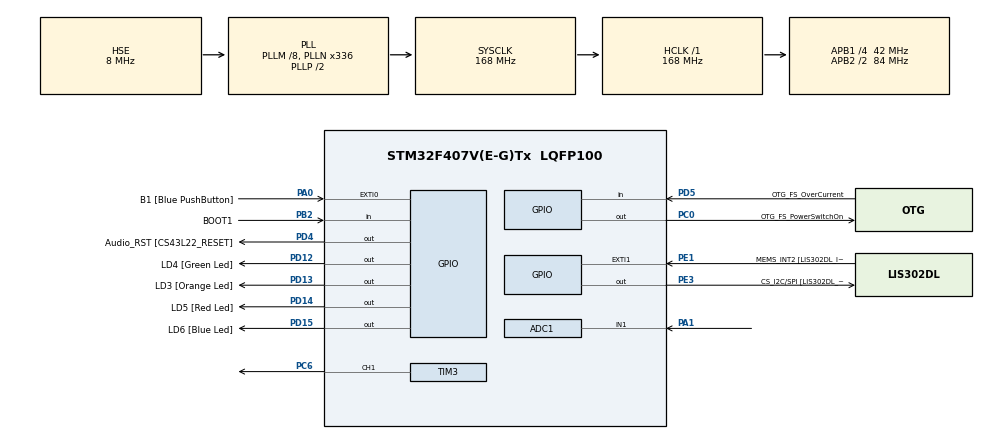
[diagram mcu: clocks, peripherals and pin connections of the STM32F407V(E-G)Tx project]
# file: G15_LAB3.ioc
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ADC1.Channel-0\#ChannelRegularConversion=ADC_CHANNEL_1
ADC1.ClockPrescaler=ADC_CLOCK_SYNC_PCLK_DIV4
ADC1.ContinuousConvMode=DISABLE
ADC1.DMAContinuousRequests=DISABLE
ADC1.DataAlign=ADC_DATAALIGN_RIGHT
ADC1.DiscontinuousConvMode=DISABLE
ADC1.EOCSelection=ADC_EOC_SINGLE_CONV
ADC1.EnableAnalogWatchDog=false
ADC1.ExternalTrigConv=ADC_EXTERNALTRIGCONV_T2_TRGO
ADC1.ExternalTrigConvEdge=ADC_EXTERNALTRIGCONVEDGE_RISING
ADC1.InjNumberOfConversion=0
ADC1.NbrOfConversion=1
ADC1.NbrOfConversionFlag=1
ADC1.Rank-0\#ChannelRegularConversion=1
ADC1.Resolution=ADC_RESOLUTION_8B
ADC1.SamplingTime-0\#ChannelRegularConversion=ADC_SAMPLETIME_3CYCLES
ADC1.ScanConvMode=DISABLE
ADC1.master=1
Mcu.Family=STM32F4
Mcu.Name=STM32F407V(E-G)Tx
Mcu.Package=LQFP100
NVIC.ADC_IRQn=true\:0\:0\:false\:false\:true\:true
NVIC.PriorityGroup=NVIC_PRIORITYGROUP_0
PA0-WKUP.GPIO_Label=B1 [Blue PushButton]
PA0-WKUP.GPIO_ModeDefaultEXTI=GPIO_MODE_EVT_RISING
PA0-WKUP.GPIO_PuPd=GPIO_NOPULL
PA0-WKUP.Signal=GPXTI0
PA1.Signal=ADCx_IN1
PA10.GPIO_Label=OTG_FS_ID
PA10.GPIO_Mode=GPIO_MODE_AF_PP
PA10.GPIO_PuPd=GPIO_NOPULL
PA10.GPIO_Speed=GPIO_SPEED_FREQ_LOW
PA10.Signal=USB_OTG_FS_ID
PA11.GPIO_Label=OTG_FS_DM
PA11.GPIO_Mode=GPIO_MODE_AF_PP
PA11.GPIO_PuPd=GPIO_NOPULL
PA11.GPIO_Speed=GPIO_SPEED_FREQ_LOW
PA11.Signal=USB_OTG_FS_DM
PA12.GPIO_Label=OTG_FS_DP
PA12.GPIO_Mode=GPIO_MODE_AF_PP
PA12.GPIO_PuPd=GPIO_NOPULL
PA12.GPIO_Speed=GPIO_SPEED_FREQ_LOW
PA12.Signal=USB_OTG_FS_DP
PA13.GPIO_Label=SWDIO
PA13.Signal=SYS_JTMS-SWDIO
PA14.GPIO_Label=SWCLK
PA14.Signal=SYS_JTCK-SWCLK
PA4.GPIO_Label=I2S3_WS [CS43L22_LRCK]
PA4.GPIO_Mode=GPIO_MODE_AF_PP
PA4.GPIO_PuPd=GPIO_NOPULL
PA4.GPIO_Speed=GPIO_SPEED_FREQ_LOW
PA4.Signal=I2S3_WS
PA5.GPIO_Label=SPI1_SCK [LIS302DL_SCL/SPC]
PA5.GPIO_Mode=GPIO_MODE_AF_PP
PA5.GPIO_PuPd=GPIO_NOPULL
PA5.GPIO_Speed=GPIO_SPEED_FREQ_LOW
PA5.Signal=SPI1_SCK
PA6.GPIO_Label=SPI1_MISO [LIS302DL_SDO]
PA6.GPIO_Mode=GPIO_MODE_AF_PP
PA6.GPIO_PuPd=GPIO_NOPULL
PA6.GPIO_Speed=GPIO_SPEED_FREQ_LOW
PA6.Signal=SPI1_MISO
PA7.GPIO_Label=SPI1_MOSI [LIS302DL_SDA/SDI/SDO]
PA7.GPIO_Mode=GPIO_MODE_AF_PP
PA7.GPIO_PuPd=GPIO_NOPULL
PA7.GPIO_Speed=GPIO_SPEED_FREQ_LOW
PA7.Signal=SPI1_MOSI
PA9.GPIO_Label=VBUS_FS
PA9.GPIO_Mode=GPIO_MODE_INPUT
PA9.GPIO_PuPd=GPIO_NOPULL
PA9.Signal=USB_OTG_FS_VBUS
PB10.GPIO_Label=CLK_IN [MP45DT02_CLK]
PB10.GPIO_Mode=GPIO_MODE_AF_PP
PB10.GPIO_PuPd=GPIO_NOPULL
PB10.GPIO_Speed=GPIO_SPEED_FREQ_LOW
PB10.Signal=I2S2_CK
PB2.GPIO_Label=BOOT1
PB2.GPIO_Mode=GPIO_MODE_INPUT
PB2.GPIO_PuPd=GPIO_NOPULL
PB2.Signal=GPIO_Input
PB3.GPIO_Label=SWO
PB3.Signal=SYS_JTDO-SWO
PB6.GPIO_Label=Audio_SCL [CS43L22_SCL]
PB6.GPIO_Mode=GPIO_MODE_AF_OD
PB6.GPIO_PuPd=GPIO_NOPULL
PB6.GPIO_Speed=GPIO_SPEED_FREQ_LOW
PB6.Signal=I2C1_SCL
PB9.GPIO_Label=Audio_SDA [CS43L22_SDA]
PB9.GPIO_Mode=GPIO_MODE_AF_OD
PB9.GPIO_PuPd=GPIO_NOPULL
PB9.GPIO_Speed=GPIO_SPEED_FREQ_LOW
PB9.Signal=I2C1_SDA
PC0.GPIO_Label=OTG_FS_PowerSwitchOn
PC0.GPIO_PuPd=GPIO_NOPULL
PC0.GPIO_Speed=GPIO_SPEED_FREQ_LOW
PC0.PinState=GPIO_PIN_SET
PC0.Signal=GPIO_Output
PC10.GPIO_Label=I2S3_SCK [CS43L22_SCLK]
PC10.GPIO_Mode=GPIO_MODE_AF_PP
PC10.GPIO_PuPd=GPIO_NOPULL
PC10.GPIO_Speed=GPIO_SPEED_FREQ_LOW
PC10.Signal=I2S3_CK
PC12.GPIO_Label=I2S3_SD [CS43L22_SDIN]
PC12.GPIO_Mode=GPIO_MODE_AF_PP
PC12.GPIO_PuPd=GPIO_NOPULL
PC12.GPIO_Speed=GPIO_SPEED_FREQ_LOW
PC12.Signal=I2S3_SD
PC14-OSC32_IN.GPIO_Label=PC14-OSC32_IN
PC14-OSC32_IN.Signal=RCC_OSC32_IN
PC15-OSC32_OUT.GPIO_Label=PC15-OSC32_OUT
PC15-OSC32_OUT.Signal=RCC_OSC32_OUT
PC3.GPIO_Label=PDM_OUT [MP45DT02_DOUT]
PC3.GPIO_Mode=GPIO_MODE_AF_PP
PC3.GPIO_PuPd=GPIO_NOPULL
PC3.GPIO_Speed=GPIO_SPEED_FREQ_LOW
PC3.Signal=I2S2_SD
PC6.Signal=S_TIM3_CH1
PC7.GPIO_Label=I2S3_MCK [CS43L22_MCLK]
PC7.GPIO_Mode=GPIO_MODE_AF_PP
PC7.GPIO_PuPd=GPIO_NOPULL
PC7.GPIO_Speed=GPIO_SPEED_FREQ_LOW
PC7.Signal=I2S3_MCK
PD12.GPIO_Label=LD4 [Green Led]
PD12.GPIO_PuPd=GPIO_NOPULL
PD12.GPIO_Speed=GPIO_SPEED_FREQ_LOW
PD12.Signal=GPIO_Output
PD13.GPIO_Label=LD3 [Orange Led]
PD13.GPIO_PuPd=GPIO_NOPULL
PD13.GPIO_Speed=GPIO_SPEED_FREQ_LOW
PD13.Signal=GPIO_Output
PD14.GPIO_Label=LD5 [Red Led]
PD14.GPIO_PuPd=GPIO_NOPULL
PD14.GPIO_Speed=GPIO_SPEED_FREQ_LOW
PD14.Signal=GPIO_Output
PD15.GPIO_Label=LD6 [Blue Led]
PD15.GPIO_PuPd=GPIO_NOPULL
PD15.GPIO_Speed=GPIO_SPEED_FREQ_LOW
PD15.Signal=GPIO_Output
PD4.GPIO_Label=Audio_RST [CS43L22_RESET]
PD4.GPIO_PuPd=GPIO_NOPULL
PD4.GPIO_Speed=GPIO_SPEED_FREQ_LOW
PD4.Signal=GPIO_Output
PD5.GPIO_Label=OTG_FS_OverCurrent
PD5.GPIO_Mode=GPIO_MODE_INPUT
PD5.GPIO_PuPd=GPIO_NOPULL
PD5.Signal=GPIO_Input
PE1.GPIO_Label=MEMS_INT2 [LIS302DL_INT2]
PE1.GPIO_ModeDefaultEXTI=GPIO_MODE_EVT_RISING
PE1.GPIO_PuPd=GPIO_NOPULL
PE1.Signal=GPXTI1
PE3.GPIO_Label=CS_I2C/SPI [LIS302DL_CS_I2C/SPI]
PE3.GPIO_PuPd=GPIO_NOPULL
PE3.GPIO_Speed=GPIO_SPEED_FREQ_LOW
PE3.Signal=GPIO_Output
PH0-OSC_IN.GPIO_Label=PH0-OSC_IN
PH0-OSC_IN.Mode=HSE-External-Oscillator
PH0-OSC_IN.Signal=RCC_OSC_IN
PH1-OSC_OUT.GPIO_Label=PH1-OSC_OUT
PH1-OSC_OUT.Mode=HSE-External-Oscillator
PH1-OSC_OUT.Signal=RCC_OSC_OUT
ProjectManager.HeapSize=0x200
ProjectManager.StackSize=0x400
ProjectManager.TargetToolchain=MDK-ARM V5
RCC.48MHZClocksFreq_Value=48000000
RCC.AHBFreq_Value=168000000
RCC.APB1CLKDivider=RCC_HCLK_DIV4
RCC.APB1Freq_Value=42000000
RCC.APB1TimFreq_Value=84000000
RCC.APB2CLKDivider=RCC_HCLK_DIV2
RCC.APB2Freq_Value=84000000
RCC.APB2TimFreq_Value=168000000
RCC.CortexFreq_Value=168000000
RCC.HCLKFreq_Value=168000000
RCC.HSE_VALUE=8000000
RCC.HSI_VALUE=16000000
RCC.LSE_VALUE=32768
RCC.PLLM=8
RCC.PLLN=336
RCC.PLLQ=7
RCC.PLLSourceVirtual=RCC_PLLSOURCE_HSE
RCC.SYSCLKFreq_VALUE=168000000
RCC.SYSCLKSource=RCC_SYSCLKSOURCE_PLLCLK
RCC.VCOOutputFreq_Value=336000000
SH.ADCx_IN1.0=ADC1_IN1,IN1
SH.S_TIM3_CH1.0=TIM3_CH1,PWM Generation1 CH1
TIM2.Period=10-1
TIM2.Prescaler=420-1
TIM2.TIM_MasterOutputTrigger=TIM_TRGO_UPDATE
TIM3.Channel-PWM\ Generation1\ CH1=TIM_CHANNEL_1
TIM3.Period=50-1
TIM3.Prescaler=420-1
VP_TIM2_VS_ClockSourceINT.Mode=Internal
board=STM32F4DISCOVERY

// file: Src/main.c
/**
  ******************************************************************************
  * File Name          : main.c
  * Description        : Main program body
  ******************************************************************************
  ** This notice applies to any and all portions of this file
  * that are not between comment pairs USER CODE BEGIN and
  * USER CODE END. Other portions of this file, whether
  * inserted by the user or by software development tools
  * are owned by their respective copyright owners.
  *
  * COPYRIGHT(c) 2018 STMicroelectronics
  *
  * Redistribution and use in source and binary forms, with or without modification,
  * are permitted provided that the following conditions are met:
  *   1. Redistributions of source code must retain the above copyright notice,
  *      this list of conditions and the following disclaimer.
  *   2. Redistributions in binary form must reproduce the above copyright notice,
  *      this list of conditions and the following disclaimer in the documentation
  *      and/or other materials provided with the distribution.
  *   3. Neither the name of STMicroelectronics nor the names of its contributors
  *      may be used to endorse or promote products derived from this software
  *      without specific prior written permission.
  *
  * THIS SOFTWARE IS PROVIDED BY THE COPYRIGHT HOLDERS AND CONTRIBUTORS "AS IS"
  * AND ANY EXPRESS OR IMPLIED WARRANTIES, INCLUDING, BUT NOT LIMITED TO, THE
  * IMPLIED WARRANTIES OF MERCHANTABILITY AND FITNESS FOR A PARTICULAR PURPOSE ARE
  * DISCLAIMED. IN NO EVENT SHALL THE COPYRIGHT HOLDER OR CONTRIBUTORS BE LIABLE
  * FOR ANY DIRECT, INDIRECT, INCIDENTAL, SPECIAL, EXEMPLARY, OR CONSEQUENTIAL
  * DAMAGES (INCLUDING, BUT NOT LIMITED TO, PROCUREMENT OF SUBSTITUTE GOODS OR
  * SERVICES; LOSS OF USE, DATA, OR PROFITS; OR BUSINESS INTERRUPTION) HOWEVER
  * CAUSED AND ON ANY THEORY OF LIABILITY, WHETHER IN CONTRACT, STRICT LIABILITY,
  * OR TORT (INCLUDING NEGLIGENCE OR OTHERWISE) ARISING IN ANY WAY OUT OF THE USE
  * OF THIS SOFTWARE, EVEN IF ADVISED OF THE POSSIBILITY OF SUCH DAMAGE.
  *
  ******************************************************************************
  */
#include "main.h"
#include "math.h"
#include <stdlib.h>
#include "keypad.h"
#include "stm32f4xx_hal.h"

/* USER CODE BEGIN Includes */
volatile int adcTimer = 0;
volatile int pushButtonTimer = 0;
volatile int display7segTimer = 0;
volatile int digitToDisplay = 0;
volatile int timeDisplay1DigitTimer = 0;
volatile int pwmUpdateTimer = 0;
/* USER CODE END Includes */

ADC_HandleTypeDef hadc1;

TIM_HandleTypeDef htim2;
TIM_HandleTypeDef htim3;

/* USER CODE BEGIN PV */
/* Private variables ---------------------------------------------------------*/
int x[] = {0, 0, 0, 0, 0};
float b[] = {0.2, 0.2, 0.2, 0.2, 0.2};
int count = 0;
float min_val = 10.0;
float max_val = 0.0;
float rms_counter = 0.0;
//
uint8_t adcRawValue;
float adcFilteredValue = 0.0;
float voltageReading;
//
char keypadInput;											// button pressed by the user
float inputValue = 0.0;
int debounce = 0;												// used to debounced the keypad
int keyLock = 1;												// mutex for keypressed
int systemState = START_STATE;					// State of the state machine
int pwmPhaseValue = 0;
/* USER CODE END PV */

void SystemClock_Config(void);
static void MX_GPIO_Init(void);
static void MX_ADC1_Init(void);
static void MX_TIM2_Init(void);
static void MX_TIM3_Init(void);
void HAL_ADC_ConvCpltCallback(ADC_HandleTypeDef* hadc);
void HAL_TIM_MspPostInit(TIM_HandleTypeDef *htim);
void TM_Delay_Init(void);
void TM_DelayMicros(uint32_t micros);
void TM_DelayMillis(uint32_t millis);

/* USER CODE BEGIN PFP */
/* Private function prototypes -----------------------------------------------*/
void plotPoint(float, float *);
void displayLEDValue(int number, int position);
void display(float value);
int getDigit(float value, int place);
void FIR_C(int input, float *output);
void userPWMSetValue(int value);
/* USER CODE BEGIN PFP */
/* USER CODE END PFP */

int main(void)
{

  /* MCU Configuration----------------------------------------------------------*/

  /* Reset of all peripherals, Initializes the Flash interface and the Systick. */
  HAL_Init();

  /* Configure the system clock */
  SystemClock_Config();
	TM_Delay_Init();

  /* Initialize all configured peripherals */
  MX_GPIO_Init();
  MX_ADC1_Init();
  MX_TIM2_Init();
  MX_TIM3_Init();
	/* Initialize Keypad*/
	Keypad_Config();

  /* USER CODE BEGIN 2 */
	// start TIM3
	HAL_TIM_PWM_Start(&htim3, TIM_CHANNEL_1);

	// Start TIM2 Timer
	HAL_TIM_Base_Start(&htim2);
	// Start ADC
	HAL_ADC_Start_IT(&hadc1);
  /* USER CODE END 2 */

  /* Infinite loop */
  /* USER CODE BEGIN WHILE */
  while (1)
  {
		/*************** START STATE **************************/
		/* start state, just display adc and wait for enter */
		while (systemState == START_STATE) {
			inputValue = 0.0;
			userPWMSetValue(99);
			printf("voltage reading: %f\n", voltageReading);
//			printf("MRS: %f, MIN: %f, MAX: %f\n", results[0], results[1], results[2]);

			/* update the value to be displayed */
			if(display7segTimer >= DISPLAY_7_SEGMENT_PERIOD) {
				display7segTimer = 0;
				display(voltageReading);
			}

			/* read which keypad button is pressed */
			keypadInput = readKeypad();
			if (keypadInput == '#') {
				systemState = INPUT_STATE_1;
			}
		}

		/************* INPUT STATE 1*****************/
		while (systemState == INPUT_STATE_1) {
			/* update the value to be displayed */
			if(display7segTimer >= DISPLAY_7_SEGMENT_PERIOD) {
				display7segTimer = 0;
				display(inputValue);
			}

			/* read input from keypad */
			keypadInput = readKeypad();
			if(keypadInput == '#'){
				systemState = INPUT_STATE_2;
			}
			else if (keypadInput != 'n'  && keypadInput != '*') {
				inputValue = (float)(keypadInput - '0');
//				printf("input value %f", inputValue);
			}
			else if(keypadInput == '*'){
				systemState = START_STATE;
			}
		}

		/************* INPUT STATE 2*****************/
		while (systemState == INPUT_STATE_2) {
			/* update the value to be displayed */
			if(display7segTimer >= DISPLAY_7_SEGMENT_PERIOD) {
				display7segTimer = 0;
				display(inputValue);
			}

			/* read input from keypad */
			keypadInput = readKeypad();
			if(keypadInput == '#'){
				systemState = MEASURE_STATE;
			}
			else if (keypadInput != 'n'  && keypadInput != '*') {
				inputValue = inputValue + (float)(keypadInput - '0') / 10.0;
//				printf("input value %f", inputValue);
			}
			else if(keypadInput == '*'){
				inputValue = roundf (inputValue - ((float)((int)(inputValue*10) % 10) / 10.0));
				systemState = INPUT_STATE_1;
			}
		}

		/************* MEASURE STATE *****************/
		while(systemState == MEASURE_STATE){

			/* update the value to be displayed */
			if(display7segTimer >= DISPLAY_7_SEGMENT_PERIOD) {
				display7segTimer = 0;
				display(voltageReading);
			}

			/* update PWN */
			if(pwmUpdateTimer >= PWM_UPDATE_PERIOD){
				pwmUpdateTimer = 0;
			if(voltageReading < inputValue){
				pwmPhaseValue = pwmPhaseValue + 1;
			}else if(voltageReading > inputValue){
				pwmPhaseValue = pwmPhaseValue - 1;
			}
			userPWMSetValue(pwmPhaseValue);
		}
			/* button holding*/
			int held = 0;
			while (	readKeypadNoDebounce() == '*' && held < 5)
			{
				TM_DelayMillis(1000);// delay 1s
				held++;
			}
			if (held > 2)
			{

				systemState = SLEEP_STATE;
			}
			else if(held > 0)
			{
				 // the button was released in less than 3 seconds
				  systemState = START_STATE;
			}

		}

		while(systemState == SLEEP_STATE)
		{
			// pwn output 0
			userPWMSetValue(0);
			// led off
			HAL_GPIO_WritePin(GPIOE, SEG7_OUT1 , GPIO_PIN_RESET);
			HAL_GPIO_WritePin(GPIOE, SEG7_OUT2 , GPIO_PIN_RESET);
			HAL_GPIO_WritePin(GPIOE, SEG7_OUT3 , GPIO_PIN_RESET);
			HAL_GPIO_WritePin(GPIOE, SEG7_OUT4 , GPIO_PIN_RESET);

			int held = 0;
			while (	readKeypadNoDebounce() == '#' && held < 5)
			{
				TM_DelayMillis(1000);// delay 1s
				held++;
			}
			if (held > 2)
			{
				  // the button was released in longer than 3 seconds
				systemState = START_STATE;
			}
		}

	}
}

/** System Clock Configuration
*/
void SystemClock_Config(void)
{

  RCC_OscInitTypeDef RCC_OscInitStruct;
  RCC_ClkInitTypeDef RCC_ClkInitStruct;

    /**Configure the main internal regulator output voltage
    */
  __HAL_RCC_PWR_CLK_ENABLE();

  __HAL_PWR_VOLTAGESCALING_CONFIG(PWR_REGULATOR_VOLTAGE_SCALE1);

    /**Initializes the CPU, AHB and APB busses clocks
    */
  RCC_OscInitStruct.OscillatorType = RCC_OSCILLATORTYPE_HSE;
  RCC_OscInitStruct.HSEState = RCC_HSE_ON;
  RCC_OscInitStruct.PLL.PLLState = RCC_PLL_ON;
  RCC_OscInitStruct.PLL.PLLSource = RCC_PLLSOURCE_HSE;
  RCC_OscInitStruct.PLL.PLLM = 8;
  RCC_OscInitStruct.PLL.PLLN = 336;
  RCC_OscInitStruct.PLL.PLLP = RCC_PLLP_DIV2;
  RCC_OscInitStruct.PLL.PLLQ = 7;
  if (HAL_RCC_OscConfig(&RCC_OscInitStruct) != HAL_OK)
  {
    _Error_Handler(__FILE__, __LINE__);
  }

    /**Initializes the CPU, AHB and APB busses clocks
    */
  RCC_ClkInitStruct.ClockType = RCC_CLOCKTYPE_HCLK|RCC_CLOCKTYPE_SYSCLK
                              |RCC_CLOCKTYPE_PCLK1|RCC_CLOCKTYPE_PCLK2;
  RCC_ClkInitStruct.SYSCLKSource = RCC_SYSCLKSOURCE_PLLCLK;
  RCC_ClkInitStruct.AHBCLKDivider = RCC_SYSCLK_DIV1;
  RCC_ClkInitStruct.APB1CLKDivider = RCC_HCLK_DIV4;
  RCC_ClkInitStruct.APB2CLKDivider = RCC_HCLK_DIV2;

  if (HAL_RCC_ClockConfig(&RCC_ClkInitStruct, FLASH_LATENCY_5) != HAL_OK)
  {
    _Error_Handler(__FILE__, __LINE__);
  }

     /* Configure SysTick to generate an interrupt every microsecond */
  HAL_SYSTICK_Config(HAL_RCC_GetHCLKFreq()/1000000);
		/*1k*/
	 //HAL_SYSTICK_Config(HAL_RCC_GetHCLKFreq()/1000);

    /**Configure the Systick
    */
  HAL_SYSTICK_CLKSourceConfig(SYSTICK_CLKSOURCE_HCLK);

  /* SysTick_IRQn interrupt configuration */
  HAL_NVIC_SetPriority(SysTick_IRQn, 0, 0);
}

/* ADC1 init function */
static void MX_ADC1_Init(void)
{

  ADC_ChannelConfTypeDef sConfig;

    /**Configure the global features of the ADC (Clock, Resolution, Data Alignment and number of conversion)
    */
  hadc1.Instance = ADC1;
  hadc1.Init.ClockPrescaler = ADC_CLOCK_SYNC_PCLK_DIV4;
  hadc1.Init.Resolution = ADC_RESOLUTION_8B;
  hadc1.Init.ScanConvMode = DISABLE;
  hadc1.Init.ContinuousConvMode = DISABLE;
  hadc1.Init.DiscontinuousConvMode = DISABLE;
  hadc1.Init.ExternalTrigConvEdge = ADC_EXTERNALTRIGCONVEDGE_RISING;
  hadc1.Init.ExternalTrigConv = ADC_EXTERNALTRIGCONV_T2_TRGO;
  hadc1.Init.DataAlign = ADC_DATAALIGN_RIGHT;
  hadc1.Init.NbrOfConversion = 1;
  hadc1.Init.DMAContinuousRequests = DISABLE;
  hadc1.Init.EOCSelection = ADC_EOC_SINGLE_CONV;
  if (HAL_ADC_Init(&hadc1) != HAL_OK)
  {
    _Error_Handler(__FILE__, __LINE__);
  }

    /**Configure for the selected ADC regular channel its corresponding rank in the sequencer and its sample time.
    */
  sConfig.Channel = ADC_CHANNEL_1;
  sConfig.Rank = 1;
  sConfig.SamplingTime = ADC_SAMPLETIME_3CYCLES;
  if (HAL_ADC_ConfigChannel(&hadc1, &sConfig) != HAL_OK)
  {
    _Error_Handler(__FILE__, __LINE__);
  }

}

/* TIM2 init function */
static void MX_TIM2_Init(void)
{

  TIM_ClockConfigTypeDef sClockSourceConfig;
  TIM_MasterConfigTypeDef sMasterConfig;

  htim2.Instance = TIM2;
  htim2.Init.Prescaler = 840-1;
  htim2.Init.CounterMode = TIM_COUNTERMODE_UP;
  htim2.Init.Period = 10-1;
  htim2.Init.ClockDivision = TIM_CLOCKDIVISION_DIV1;
  if (HAL_TIM_Base_Init(&htim2) != HAL_OK)
  {
    _Error_Handler(__FILE__, __LINE__);
  }

  sClockSourceConfig.ClockSource = TIM_CLOCKSOURCE_INTERNAL;
  if (HAL_TIM_ConfigClockSource(&htim2, &sClockSourceConfig) != HAL_OK)
  {
    _Error_Handler(__FILE__, __LINE__);
  }

  sMasterConfig.MasterOutputTrigger = TIM_TRGO_UPDATE;
  sMasterConfig.MasterSlaveMode = TIM_MASTERSLAVEMODE_DISABLE;
  if (HAL_TIMEx_MasterConfigSynchronization(&htim2, &sMasterConfig) != HAL_OK)
  {
    _Error_Handler(__FILE__, __LINE__);
  }

}

/* TIM3 init function */
static void MX_TIM3_Init(void)
{

  TIM_MasterConfigTypeDef sMasterConfig;
  TIM_OC_InitTypeDef sConfigOC;

  htim3.Instance = TIM3;
  htim3.Init.Prescaler = 336-1;
  htim3.Init.CounterMode = TIM_COUNTERMODE_UP;
  htim3.Init.Period = PWM_PERIOD - 1;
  htim3.Init.ClockDivision = TIM_CLOCKDIVISION_DIV1;
  if (HAL_TIM_PWM_Init(&htim3) != HAL_OK)
  {
    _Error_Handler(__FILE__, __LINE__);
  }

  sMasterConfig.MasterOutputTrigger = TIM_TRGO_RESET;
  sMasterConfig.MasterSlaveMode = TIM_MASTERSLAVEMODE_DISABLE;
  if (HAL_TIMEx_MasterConfigSynchronization(&htim3, &sMasterConfig) != HAL_OK)
  {
    _Error_Handler(__FILE__, __LINE__);
  }

  sConfigOC.OCMode = TIM_OCMODE_PWM1;
  sConfigOC.Pulse = 0;
  sConfigOC.OCPolarity = TIM_OCPOLARITY_HIGH;
  sConfigOC.OCFastMode = TIM_OCFAST_DISABLE;
  if (HAL_TIM_PWM_ConfigChannel(&htim3, &sConfigOC, TIM_CHANNEL_1) != HAL_OK)
  {
    _Error_Handler(__FILE__, __LINE__);
  }

  HAL_TIM_MspPostInit(&htim3);

}

/** Configure pins as
        * Analog
        * Input
        * Output
        * EVENT_OUT
        * EXTI
     PC3   ------> I2S2_SD
     PA4   ------> I2S3_WS
     PA5   ------> SPI1_SCK
     PA6   ------> SPI1_MISO
     PA7   ------> SPI1_MOSI
     PB10   ------> I2S2_CK
     PC7   ------> I2S3_MCK
     PA9   ------> USB_OTG_FS_VBUS
     PA10   ------> USB_OTG_FS_ID
     PA11   ------> USB_OTG_FS_DM
     PA12   ------> USB_OTG_FS_DP
     PC10   ------> I2S3_CK
     PC12   ------> I2S3_SD
     PB6   ------> I2C1_SCL
     PB9   ------> I2C1_SDA
*/
static void MX_GPIO_Init(void)
{

  GPIO_InitTypeDef GPIO_InitStruct;

  /* GPIO Ports Clock Enable */
  __HAL_RCC_GPIOE_CLK_ENABLE();
  __HAL_RCC_GPIOC_CLK_ENABLE();
  __HAL_RCC_GPIOH_CLK_ENABLE();
  __HAL_RCC_GPIOA_CLK_ENABLE();
  __HAL_RCC_GPIOB_CLK_ENABLE();
  __HAL_RCC_GPIOD_CLK_ENABLE();

  /*Configure GPIO pin Output Level */
  HAL_GPIO_WritePin(CS_I2C_SPI_GPIO_Port, CS_I2C_SPI_Pin, GPIO_PIN_RESET);

  /*Configure GPIO pin Output Level */
  HAL_GPIO_WritePin(OTG_FS_PowerSwitchOn_GPIO_Port, OTG_FS_PowerSwitchOn_Pin, GPIO_PIN_SET);

  /*Configure GPIO pin Output Level */
  HAL_GPIO_WritePin(GPIOD, LD4_Pin|LD3_Pin|LD5_Pin|LD6_Pin
                          |Audio_RST_Pin, GPIO_PIN_RESET);

  /*Configure GPIO pin : CS_I2C_SPI_Pin */
  GPIO_InitStruct.Pin = CS_I2C_SPI_Pin;
  GPIO_InitStruct.Mode = GPIO_MODE_OUTPUT_PP;
  GPIO_InitStruct.Pull = GPIO_NOPULL;
  GPIO_InitStruct.Speed = GPIO_SPEED_FREQ_LOW;
  HAL_GPIO_Init(CS_I2C_SPI_GPIO_Port, &GPIO_InitStruct);

  /*Configure GPIO pin : OTG_FS_PowerSwitchOn_Pin */
  GPIO_InitStruct.Pin = OTG_FS_PowerSwitchOn_Pin;
  GPIO_InitStruct.Mode = GPIO_MODE_OUTPUT_PP;
  GPIO_InitStruct.Pull = GPIO_NOPULL;
  GPIO_InitStruct.Speed = GPIO_SPEED_FREQ_LOW;
  HAL_GPIO_Init(OTG_FS_PowerSwitchOn_GPIO_Port, &GPIO_InitStruct);

  /*Configure GPIO pin : PDM_OUT_Pin */
  GPIO_InitStruct.Pin = PDM_OUT_Pin;
  GPIO_InitStruct.Mode = GPIO_MODE_AF_PP;
  GPIO_InitStruct.Pull = GPIO_NOPULL;
  GPIO_InitStruct.Speed = GPIO_SPEED_FREQ_LOW;
  GPIO_InitStruct.Alternate = GPIO_AF5_SPI2;
  HAL_GPIO_Init(PDM_OUT_GPIO_Port, &GPIO_InitStruct);

  /*Configure GPIO pin : B1_Pin */
  GPIO_InitStruct.Pin = B1_Pin;
  GPIO_InitStruct.Mode = GPIO_MODE_EVT_RISING;
  GPIO_InitStruct.Pull = GPIO_NOPULL;
  HAL_GPIO_Init(B1_GPIO_Port, &GPIO_InitStruct);

  /*Configure GPIO pin : I2S3_WS_Pin */
  GPIO_InitStruct.Pin = I2S3_WS_Pin;
  GPIO_InitStruct.Mode = GPIO_MODE_AF_PP;
  GPIO_InitStruct.Pull = GPIO_NOPULL;
  GPIO_InitStruct.Speed = GPIO_SPEED_FREQ_LOW;
  GPIO_InitStruct.Alternate = GPIO_AF6_SPI3;
  HAL_GPIO_Init(I2S3_WS_GPIO_Port, &GPIO_InitStruct);

  /*Configure GPIO pins : SPI1_SCK_Pin SPI1_MISO_Pin SPI1_MOSI_Pin */
  GPIO_InitStruct.Pin = SPI1_SCK_Pin|SPI1_MISO_Pin|SPI1_MOSI_Pin;
  GPIO_InitStruct.Mode = GPIO_MODE_AF_PP;
  GPIO_InitStruct.Pull = GPIO_NOPULL;
  GPIO_InitStruct.Speed = GPIO_SPEED_FREQ_LOW;
  GPIO_InitStruct.Alternate = GPIO_AF5_SPI1;
  HAL_GPIO_Init(GPIOA, &GPIO_InitStruct);

  /*Configure GPIO pin : BOOT1_Pin */
  GPIO_InitStruct.Pin = BOOT1_Pin;
  GPIO_InitStruct.Mode = GPIO_MODE_INPUT;
  GPIO_InitStruct.Pull = GPIO_NOPULL;
  HAL_GPIO_Init(BOOT1_GPIO_Port, &GPIO_InitStruct);

  /*Configure GPIO pin : CLK_IN_Pin */
  GPIO_InitStruct.Pin = CLK_IN_Pin;
  GPIO_InitStruct.Mode = GPIO_MODE_AF_PP;
  GPIO_InitStruct.Pull = GPIO_NOPULL;
  GPIO_InitStruct.Speed = GPIO_SPEED_FREQ_LOW;
  GPIO_InitStruct.Alternate = GPIO_AF5_SPI2;
  HAL_GPIO_Init(CLK_IN_GPIO_Port, &GPIO_InitStruct);

  /*Configure GPIO pins : LD4_Pin LD3_Pin LD5_Pin LD6_Pin
                           Audio_RST_Pin */
  GPIO_InitStruct.Pin = LD4_Pin|LD3_Pin|LD5_Pin|LD6_Pin
                          |Audio_RST_Pin;
  GPIO_InitStruct.Mode = GPIO_MODE_OUTPUT_PP;
  GPIO_InitStruct.Pull = GPIO_NOPULL;
  GPIO_InitStruct.Speed = GPIO_SPEED_FREQ_LOW;
  HAL_GPIO_Init(GPIOD, &GPIO_InitStruct);

  /*Configure GPIO pins : I2S3_MCK_Pin I2S3_SCK_Pin I2S3_SD_Pin */
  GPIO_InitStruct.Pin = I2S3_MCK_Pin|I2S3_SCK_Pin|I2S3_SD_Pin;
  GPIO_InitStruct.Mode = GPIO_MODE_AF_PP;
  GPIO_InitStruct.Pull = GPIO_NOPULL;
  GPIO_InitStruct.Speed = GPIO_SPEED_FREQ_LOW;
  GPIO_InitStruct.Alternate = GPIO_AF6_SPI3;
  HAL_GPIO_Init(GPIOC, &GPIO_InitStruct);

  /*Configure GPIO pin : VBUS_FS_Pin */
  GPIO_InitStruct.Pin = VBUS_FS_Pin;
  GPIO_InitStruct.Mode = GPIO_MODE_INPUT;
  GPIO_InitStruct.Pull = GPIO_NOPULL;
  HAL_GPIO_Init(VBUS_FS_GPIO_Port, &GPIO_InitStruct);

  /*Configure GPIO pins : OTG_FS_ID_Pin OTG_FS_DM_Pin OTG_FS_DP_Pin */
  GPIO_InitStruct.Pin = OTG_FS_ID_Pin|OTG_FS_DM_Pin|OTG_FS_DP_Pin;
  GPIO_InitStruct.Mode = GPIO_MODE_AF_PP;
  GPIO_InitStruct.Pull = GPIO_NOPULL;
  GPIO_InitStruct.Speed = GPIO_SPEED_FREQ_LOW;
  GPIO_InitStruct.Alternate = GPIO_AF10_OTG_FS;
  HAL_GPIO_Init(GPIOA, &GPIO_InitStruct);

  /*Configure GPIO pin : OTG_FS_OverCurrent_Pin */
  GPIO_InitStruct.Pin = OTG_FS_OverCurrent_Pin;
  GPIO_InitStruct.Mode = GPIO_MODE_INPUT;
  GPIO_InitStruct.Pull = GPIO_NOPULL;
  HAL_GPIO_Init(OTG_FS_OverCurrent_GPIO_Port, &GPIO_InitStruct);

  /*Configure GPIO pins : Audio_SCL_Pin Audio_SDA_Pin */
  GPIO_InitStruct.Pin = Audio_SCL_Pin|Audio_SDA_Pin;
  GPIO_InitStruct.Mode = GPIO_MODE_AF_OD;
  GPIO_InitStruct.Pull = GPIO_PULLUP;
  GPIO_InitStruct.Speed = GPIO_SPEED_FREQ_LOW;
  GPIO_InitStruct.Alternate = GPIO_AF4_I2C1;
  HAL_GPIO_Init(GPIOB, &GPIO_InitStruct);

  /*Configure GPIO pin : MEMS_INT2_Pin */
  GPIO_InitStruct.Pin = MEMS_INT2_Pin;
  GPIO_InitStruct.Mode = GPIO_MODE_EVT_RISING;
  GPIO_InitStruct.Pull = GPIO_NOPULL;
  HAL_GPIO_Init(MEMS_INT2_GPIO_Port, &GPIO_InitStruct);

	//7-segment display
	GPIO_InitStruct.Pin = SEG7_A | SEG7_B | SEG7_C | SEG7_D | SEG7_E | SEG7_F | SEG7_G | SEG7_DP | SEG7_OUT1 | SEG7_OUT2 | SEG7_OUT3 | SEG7_OUT4 ; 	// initialize the 7-segment display for the LEDs pin
	GPIO_InitStruct.Mode = GPIO_MODE_OUTPUT_PP; //set pins to output push pull mode
	GPIO_InitStruct.Pull = GPIO_NOPULL; // no pull for 7-segment pins
	GPIO_InitStruct.Speed = GPIO_SPEED_FREQ_MEDIUM; //Speed of pin

	HAL_GPIO_Init(GPIOE, &GPIO_InitStruct); // Initiate the pins with the setting from GPIO_INIT
	// when initialize, set all the pins to LOW
	HAL_GPIO_WritePin(GPIOE, SEG7_A | SEG7_B | SEG7_C | SEG7_D | SEG7_E | SEG7_F | SEG7_G | SEG7_DP | SEG7_OUT1 | SEG7_OUT2 | SEG7_OUT3 | SEG7_OUT4, GPIO_PIN_RESET);

}

/**
	* @brief Display float number in seven segment
	* @param float in x.xx format
	* @retval None
	*/
void display(float value) {
		/* change the digit to be viewed slower for the 7-segment slower for better display */
		if (timeDisplay1DigitTimer >= TIME_DISPLAY_1_DIGIT_PERIOD) {
			timeDisplay1DigitTimer = 0;
			digitToDisplay = (digitToDisplay + 1) % 3;
		}
		//display digits from left side, +1 for seven segments digit offset
	displayLEDValue(getDigit(value, digitToDisplay), digitToDisplay + 2);
}

/**
	* @brief Retrive the digits in float number
	* @param value:	x.xx
	* @param place: 2 10
	*/
int getDigit(float value, int place) {
	int tmp = (int) (value * 100);
	switch (place) {
		case 0:
			return (tmp - tmp % 100) / 100;
		case 1:
			return (tmp % 100 - tmp % 10) / 10;
		case 2:
			return tmp % 10;
		default:
			return 0;
	}
}

/**
	* @brief Update PWM pulse value
	* @param value: sConfigOC.Pulse
	*/
void userPWMSetValue(int value)
{
	if(value > PWM_PERIOD){
		value = PWM_PERIOD;
	}
	if(value < 0){
		value = 0;
	}
	TIM_OC_InitTypeDef sConfigOC;

	sConfigOC.OCMode = TIM_OCMODE_PWM1;
	sConfigOC.Pulse = value;
	sConfigOC.OCPolarity = TIM_OCPOLARITY_HIGH;
	sConfigOC.OCFastMode = TIM_OCFAST_DISABLE;
	HAL_TIM_PWM_ConfigChannel(&htim3, &sConfigOC, TIM_CHANNEL_1);
  HAL_TIM_PWM_Start(&htim3, TIM_CHANNEL_1);
}

/**
	* @brief FIR filter
	* @param value: sConfigOC.Pulse
	*/
void FIR_C(int input, float *output) {
	// shifting
	int j;
	for(j = 0; j < 4; ++j){
		x[j] = x[j+1];
	}
	// add new element in the end
	x[4] = input;

	float out = 0.0;
	int i;
	for(i = 0; i < 5; ++i) {
		out += x[i] * b[4 - i];
	}
	*output = out;
}

/**
	* @brief Allow to display the value on a segment display depending on the number and position
	* @param number: number to be displayed
  * @param position: digit of number to be displayed
	*/
void displayLEDValue(int number, int position){
	// set a specific value to set all the segment pins to low
	if (number == -1){
			HAL_GPIO_WritePin(GPIOE, SEG7_A , GPIO_PIN_RESET);
			HAL_GPIO_WritePin(GPIOE, SEG7_B , GPIO_PIN_RESET);
			HAL_GPIO_WritePin(GPIOE, SEG7_C , GPIO_PIN_RESET);
			HAL_GPIO_WritePin(GPIOE, SEG7_D , GPIO_PIN_RESET);
			HAL_GPIO_WritePin(GPIOE, SEG7_E , GPIO_PIN_RESET);
			HAL_GPIO_WritePin(GPIOE, SEG7_F , GPIO_PIN_RESET);
			HAL_GPIO_WritePin(GPIOE, SEG7_G , GPIO_PIN_RESET);
	}

	else if (number == 1){
			HAL_GPIO_WritePin(GPIOE, SEG7_A , GPIO_PIN_RESET);
			HAL_GPIO_WritePin(GPIOE, SEG7_B , GPIO_PIN_SET);
			HAL_GPIO_WritePin(GPIOE, SEG7_C , GPIO_PIN_SET);
			HAL_GPIO_WritePin(GPIOE, SEG7_D , GPIO_PIN_RESET);
			HAL_GPIO_WritePin(GPIOE, SEG7_E , GPIO_PIN_RESET);
			HAL_GPIO_WritePin(GPIOE, SEG7_F , GPIO_PIN_RESET);
			HAL_GPIO_WritePin(GPIOE, SEG7_G , GPIO_PIN_RESET);
	}

	else if (number == 2){
			HAL_GPIO_WritePin(GPIOE, SEG7_A , GPIO_PIN_SET);
			HAL_GPIO_WritePin(GPIOE, SEG7_B , GPIO_PIN_SET);
			HAL_GPIO_WritePin(GPIOE, SEG7_C , GPIO_PIN_RESET);
			HAL_GPIO_WritePin(GPIOE, SEG7_D , GPIO_PIN_SET);
			HAL_GPIO_WritePin(GPIOE, SEG7_E , GPIO_PIN_SET);
			HAL_GPIO_WritePin(GPIOE, SEG7_F , GPIO_PIN_RESET);
			HAL_GPIO_WritePin(GPIOE, SEG7_G , GPIO_PIN_SET);
	}

	else if (number == 3){
			HAL_GPIO_WritePin(GPIOE, SEG7_A , GPIO_PIN_SET);
			HAL_GPIO_WritePin(GPIOE, SEG7_B , GPIO_PIN_SET);
			HAL_GPIO_WritePin(GPIOE, SEG7_C , GPIO_PIN_SET);
			HAL_GPIO_WritePin(GPIOE, SEG7_D , GPIO_PIN_SET);
			HAL_GPIO_WritePin(GPIOE, SEG7_E , GPIO_PIN_RESET);
			HAL_GPIO_WritePin(GPIOE, SEG7_F , GPIO_PIN_RESET);
			HAL_GPIO_WritePin(GPIOE, SEG7_G , GPIO_PIN_SET);
	}

	else if (number == 4){
			HAL_GPIO_WritePin(GPIOE, SEG7_A , GPIO_PIN_RESET);
			HAL_GPIO_WritePin(GPIOE, SEG7_B , GPIO_PIN_SET);
			HAL_GPIO_WritePin(GPIOE, SEG7_C , GPIO_PIN_SET);
			HAL_GPIO_WritePin(GPIOE, SEG7_D , GPIO_PIN_RESET);
			HAL_GPIO_WritePin(GPIOE, SEG7_E , GPIO_PIN_RESET);
			HAL_GPIO_WritePin(GPIOE, SEG7_F , GPIO_PIN_SET);
			HAL_GPIO_WritePin(GPIOE, SEG7_G , GPIO_PIN_SET);
	}

	else if (number == 5){
			HAL_GPIO_WritePin(GPIOE, SEG7_A , GPIO_PIN_SET);
			HAL_GPIO_WritePin(GPIOE, SEG7_B , GPIO_PIN_RESET);
			HAL_GPIO_WritePin(GPIOE, SEG7_C , GPIO_PIN_SET);
			HAL_GPIO_WritePin(GPIOE, SEG7_D , GPIO_PIN_SET);
			HAL_GPIO_WritePin(GPIOE, SEG7_E , GPIO_PIN_RESET);
			HAL_GPIO_WritePin(GPIOE, SEG7_F , GPIO_PIN_SET);
			HAL_GPIO_WritePin(GPIOE, SEG7_G , GPIO_PIN_SET);
	}

	else if (number == 6){
			HAL_GPIO_WritePin(GPIOE, SEG7_A , GPIO_PIN_SET);
			HAL_GPIO_WritePin(GPIOE, SEG7_B , GPIO_PIN_RESET);
			HAL_GPIO_WritePin(GPIOE, SEG7_C , GPIO_PIN_SET);
			HAL_GPIO_WritePin(GPIOE, SEG7_D , GPIO_PIN_SET);
			HAL_GPIO_WritePin(GPIOE, SEG7_E , GPIO_PIN_SET);
			HAL_GPIO_WritePin(GPIOE, SEG7_F , GPIO_PIN_SET);
			HAL_GPIO_WritePin(GPIOE, SEG7_G , GPIO_PIN_SET);
	}

	else if (number == 7){
			HAL_GPIO_WritePin(GPIOE, SEG7_A , GPIO_PIN_SET);
			HAL_GPIO_WritePin(GPIOE, SEG7_B , GPIO_PIN_SET);
			HAL_GPIO_WritePin(GPIOE, SEG7_C , GPIO_PIN_SET);
			HAL_GPIO_WritePin(GPIOE, SEG7_D , GPIO_PIN_RESET);
			HAL_GPIO_WritePin(GPIOE, SEG7_E , GPIO_PIN_RESET);
			HAL_GPIO_WritePin(GPIOE, SEG7_F , GPIO_PIN_RESET);
			HAL_GPIO_WritePin(GPIOE, SEG7_G , GPIO_PIN_RESET);
	}

	else if (number == 8){
			HAL_GPIO_WritePin(GPIOE, SEG7_A , GPIO_PIN_SET);
			HAL_GPIO_WritePin(GPIOE, SEG7_B , GPIO_PIN_SET);
			HAL_GPIO_WritePin(GPIOE, SEG7_C , GPIO_PIN_SET);
			HAL_GPIO_WritePin(GPIOE, SEG7_D , GPIO_PIN_SET);
			HAL_GPIO_WritePin(GPIOE, SEG7_E , GPIO_PIN_SET);
			HAL_GPIO_WritePin(GPIOE, SEG7_F , GPIO_PIN_SET);
			HAL_GPIO_WritePin(GPIOE, SEG7_G , GPIO_PIN_SET);
	}

	else if (number == 9){
			HAL_GPIO_WritePin(GPIOE, SEG7_A , GPIO_PIN_SET);
			HAL_GPIO_WritePin(GPIOE, SEG7_B , GPIO_PIN_SET);
			HAL_GPIO_WritePin(GPIOE, SEG7_C , GPIO_PIN_SET);
			HAL_GPIO_WritePin(GPIOE, SEG7_D , GPIO_PIN_RESET);
			HAL_GPIO_WritePin(GPIOE, SEG7_E , GPIO_PIN_RESET);
			HAL_GPIO_WritePin(GPIOE, SEG7_F , GPIO_PIN_SET);
			HAL_GPIO_WritePin(GPIOE, SEG7_G , GPIO_PIN_SET);
	}

	else if (number == 0){
			HAL_GPIO_WritePin(GPIOE, SEG7_A , GPIO_PIN_SET);
			HAL_GPIO_WritePin(GPIOE, SEG7_B , GPIO_PIN_SET);
			HAL_GPIO_WritePin(GPIOE, SEG7_C , GPIO_PIN_SET);
			HAL_GPIO_WritePin(GPIOE, SEG7_D , GPIO_PIN_SET);
			HAL_GPIO_WritePin(GPIOE, SEG7_E , GPIO_PIN_SET);
			HAL_GPIO_WritePin(GPIOE, SEG7_F , GPIO_PIN_SET);
			HAL_GPIO_WritePin(GPIOE, SEG7_G , GPIO_PIN_RESET);

	}

	// Set which display to display the number.
	if (position == -1){
		HAL_GPIO_WritePin(GPIOE, SEG7_OUT1 , GPIO_PIN_RESET);
		HAL_GPIO_WritePin(GPIOE, SEG7_OUT2 , GPIO_PIN_RESET);
		HAL_GPIO_WritePin(GPIOE, SEG7_OUT3 , GPIO_PIN_RESET);
		HAL_GPIO_WritePin(GPIOE, SEG7_OUT4 , GPIO_PIN_RESET);
		HAL_GPIO_WritePin(GPIOE, SEG7_DP , GPIO_PIN_RESET);
	}

	else if (position == 1){
	  HAL_GPIO_WritePin(GPIOE, SEG7_OUT1 , GPIO_PIN_SET);
		HAL_GPIO_WritePin(GPIOE, SEG7_OUT2 , GPIO_PIN_RESET);
		HAL_GPIO_WritePin(GPIOE, SEG7_OUT3 , GPIO_PIN_RESET);
		HAL_GPIO_WritePin(GPIOE, SEG7_OUT4 , GPIO_PIN_RESET);
		HAL_GPIO_WritePin(GPIOE, SEG7_DP , GPIO_PIN_RESET);
	}

	else if (position == 2){
	  HAL_GPIO_WritePin(GPIOE, SEG7_OUT1 , GPIO_PIN_RESET);
		HAL_GPIO_WritePin(GPIOE, SEG7_OUT2 , GPIO_PIN_SET);
		HAL_GPIO_WritePin(GPIOE, SEG7_OUT3 , GPIO_PIN_RESET);
		HAL_GPIO_WritePin(GPIOE, SEG7_OUT4 , GPIO_PIN_RESET);
		HAL_GPIO_WritePin(GPIOE, SEG7_DP , GPIO_PIN_SET);
	}

	else if (position == 3){
	  HAL_GPIO_WritePin(GPIOE, SEG7_OUT1 , GPIO_PIN_RESET);
		HAL_GPIO_WritePin(GPIOE, SEG7_OUT2 , GPIO_PIN_RESET);
		HAL_GPIO_WritePin(GPIOE, SEG7_OUT3 , GPIO_PIN_SET);
		HAL_GPIO_WritePin(GPIOE, SEG7_OUT4 , GPIO_PIN_RESET);
		HAL_GPIO_WritePin(GPIOE, SEG7_DP , GPIO_PIN_RESET);
	}

	else if (position == 4){
	  HAL_GPIO_WritePin(GPIOE, SEG7_OUT1 , GPIO_PIN_RESET);
		HAL_GPIO_WritePin(GPIOE, SEG7_OUT2 , GPIO_PIN_RESET);
		HAL_GPIO_WritePin(GPIOE, SEG7_OUT3 , GPIO_PIN_RESET);
		HAL_GPIO_WritePin(GPIOE, SEG7_OUT4 , GPIO_PIN_SET);
		HAL_GPIO_WritePin(GPIOE, SEG7_DP , GPIO_PIN_RESET);
	}
}

/**
	* @brief RMS MAX MIN calculation function
	* @param input
  * @param output
	*/
void plotPoint(float input, float* output) {

	if(count == 0) {
		min_val = input;
		max_val = input;
		rms_counter = input * input;
	} else {
		if(input < min_val) min_val = input;
		else if(input > max_val) max_val = input;
		rms_counter += input * input;
	}
	count = (count + 1) % 500;
	output[0] = sqrt(rms_counter / count);
	output[1] = min_val;
	output[2] = max_val;
}

/**
	* @brief ADC Conversion Call back Function
	* @param number: number to be displayed
  * @param position: digit of number to be displayed
	*/
void HAL_ADC_ConvCpltCallback(ADC_HandleTypeDef* hadc)
{
  /* Prevent unused argument(s) compilation warning */
  UNUSED(hadc);
  /* NOTE : This function Should not be modified, when the callback is needed,
            the HAL_ADC_ConvCpltCallback could be implemented in the user file
   */
	adcRawValue = HAL_ADC_GetValue(&hadc1);
	FIR_C(adcRawValue, &adcFilteredValue);
	voltageReading = (3.0 * adcRawValue / 255.0);
}
uint32_t multiplier;
/**
	* @brief Delay function Init
	*/
void TM_Delay_Init(void) {
    /* While loop takes 4 cycles */
    /* For 1 us delay, we need to divide with 4M */
    multiplier = HAL_RCC_GetHCLKFreq() / 4000000;
}
/**
	* @brief This function cause dealy in microsecond
	*	@param micros:	delay time in microsecond
	*/
void TM_DelayMicros(uint32_t micros) {
    /* Multiply micros with multipler */
    /* Substract 10 */
    micros = micros * multiplier - 10;
    /* 4 cycles for one loop */
    while (micros--);
}
/**
	* @brief This function cause dealy in milisecond
	*	@param micros:	delay time in milisecond
	*/
void TM_DelayMillis(uint32_t millis) {
    /* Multiply millis with multipler */
    /* Substract 10 */
    millis = 1000 * millis * multiplier - 10;
    /* 4 cycles for one loop */
    while (millis--);
}
/* USER CODE END 4 */

void _Error_Handler(char * file, int line)
{
  while(1)
  {
  }
}

/************************ (C) COPYRIGHT STMicroelectronics *****END OF FILE****/
